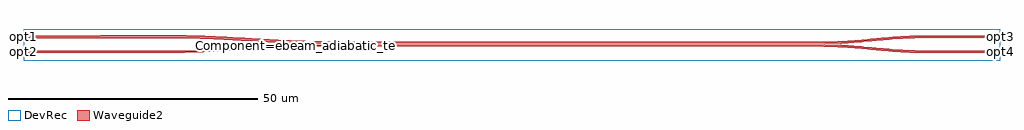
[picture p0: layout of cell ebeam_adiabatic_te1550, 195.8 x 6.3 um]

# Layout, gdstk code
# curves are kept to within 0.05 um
import gdstk
lib = gdstk.Library(unit=1e-6, precision=1e-09)
def R(c, l, rs):  # rectangles x0, y0, x1, y1
    for r in rs: c.add(gdstk.rectangle(r[:2], r[2:], *l))
def P(c, l, *ps):  # polygons
    for p in ps: c.add(gdstk.Polygon(p, *l))
Waveguide2 = (31, 0)
DevRec = (68, 0)

adiabatic3db_te_fulletch = lib.new_cell('Adiabatic3dB_TE_FullEtch')
P(adiabatic3db_te_fulletch, Waveguide2, [(15.5,1.225),(0.5,1.25),(0.1,1.25),(0.1,1.75),(0.5,1.75),(15.5,1.775)],
  [(0.1,-1.75),(0.1,-1.25),(0.5,-1.25),(15.5,-1.325),(15.5,-1.675),(0.5,-1.75)],
  [(195.5,1.25),(180.5,1.275),(180.5,1.725),(195.5,1.75),(195.9,1.75),(195.9,1.25)],
  [(195.5,-1.75),(180.5,-1.725),(180.5,-1.275),(195.5,-1.25),(195.9,-1.25),(195.9,-1.75)],
  [(57.092,0.09),(51.657,0.289),(39.908,0.957),(34.518,1.171),(15.5,1.225),(15.5,1.775),(31.755,1.77),(37.555,1.617),(51.388,0.853),(57.092,0.639)],
  [(60.185,0.05),(57.092,0.09),(57.092,0.639),(161.125,0.503),(165.974,0.719),(175.99,1.573),(180.5,1.725),(180.5,1.275),(176.018,1.124),(166.007,0.27),(161.13,0.053)],
  [(15.5,-1.675),(15.5,-1.325),(30.814,-1.325),(34.521,-1.266),(39.912,-1.034),(52.851,-0.249),(58.934,-0.059),(160.71,-0.05),(160.71,-0.5),(58.938,-0.409),(52.273,-0.628),(40.227,-1.367),(34.531,-1.616),(30.815,-1.675)],
  [(180.29,-1.725),(175.99,-1.573),(165.38,-0.677),(160.71,-0.5),(160.71,-0.05),(165.41,-0.228),(176.018,-1.124),(180.5,-1.275),(180.5,-1.725)])
adiabatic3db_te_fulletch.add(gdstk.Label('Reference: Han Yun, Proc. SPIE, http://dx.doi.org/10.1117/12.2037968', (7,0), layer=10, texttype=0))

ebeam_adiabatic_te1550 = lib.new_cell('ebeam_adiabatic_te1550')
R(ebeam_adiabatic_te1550, DevRec, [(0.1,-3.3,195.9,3)])
ebeam_adiabatic_te1550.add(gdstk.Reference(adiabatic3db_te_fulletch, (0,0)))
ebeam_adiabatic_te1550.add(gdstk.Label('opt4', (195.9,-1.5), layer=1, texttype=10))
ebeam_adiabatic_te1550.add(gdstk.Label('opt3', (195.9,1.5), layer=1, texttype=10))
ebeam_adiabatic_te1550.add(gdstk.Label('opt1', (0.1,1.5), layer=1, texttype=10))
ebeam_adiabatic_te1550.add(gdstk.Label('opt2', (0.1,-1.5), layer=1, texttype=10))
ebeam_adiabatic_te1550.add(gdstk.Label('Component=ebeam_adiabatic_te1550', (54.64,-0.19), layer=68, texttype=0))
ebeam_adiabatic_te1550.add(gdstk.Label('Lumerical_INTERCONNECT_library=Design kits/ebeam', (54.64,-2.19), layer=68, texttype=0))

lib.write_gds('ebeam_adiabatic_te1550.gds')
